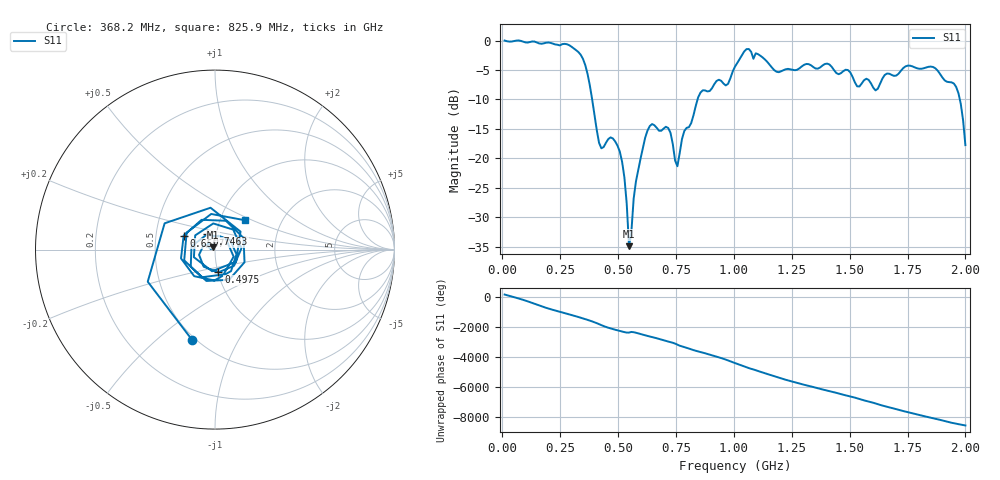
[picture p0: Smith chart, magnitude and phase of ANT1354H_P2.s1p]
!Created with skrf (http://scikit-rf.org).
# Hz S RI R 50.0
!freq ReS11 ImS11
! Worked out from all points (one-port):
!   201 points, 10 MHz to 2 GHz, reference 50 ohm
!   lowest |S11| = -34.9 dB at 547.3 MHz (marker M1), VSWR 1.04, Z = 48.8 + j1.35 ohm
!   |S11| at or under -10 dB: 388.1 MHz to 843.3 MHz (455.1 MHz wide, 73.9 % of centre); 1.976 GHz to end of sweep
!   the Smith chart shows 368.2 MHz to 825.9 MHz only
!   S11 on the Smith chart (normalised r, x): 368.2 MHz: 0.48, -0.66; 497.6 MHz: 1.00, -0.26; 656.8 MHz: 0.70, +0.11; 746.3 MHz: 0.90, +0.16; 825.9 MHz: 1.31, +0.45
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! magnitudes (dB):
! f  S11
! 10 MHz  0.0
! 258.8 MHz  -0.6
! 368.2 MHz  -5.7
! 417.9 MHz  -17.4
! 497.6 MHz  -17.8
! 507.5 MHz  -18.8
! 527.4 MHz  -23.3
! 547.3 MHz  -34.9
! 577.1 MHz  -23.9
! 597 MHz  -20.0
! 626.9 MHz  -15.3
! 656.8 MHz  -14.4
! 716.5 MHz  -14.8
! 746.3 MHz  -20.4
! 756.2 MHz  -21.3
! 786.1 MHz  -15.3
! 825.9 MHz  -12.6
! 855.8 MHz  -8.8
! 975.1 MHz  -7.3
! 1.005 GHz  -4.4
! 1.065 GHz  -1.4
! 1.254 GHz  -5.0
! 1.502 GHz  -5.4
! 1.612 GHz  -8.5
! 1.751 GHz  -4.3
! 1.95 GHz  -7.3
! 1.98 GHz  -10.8
! 2 GHz  -17.7
